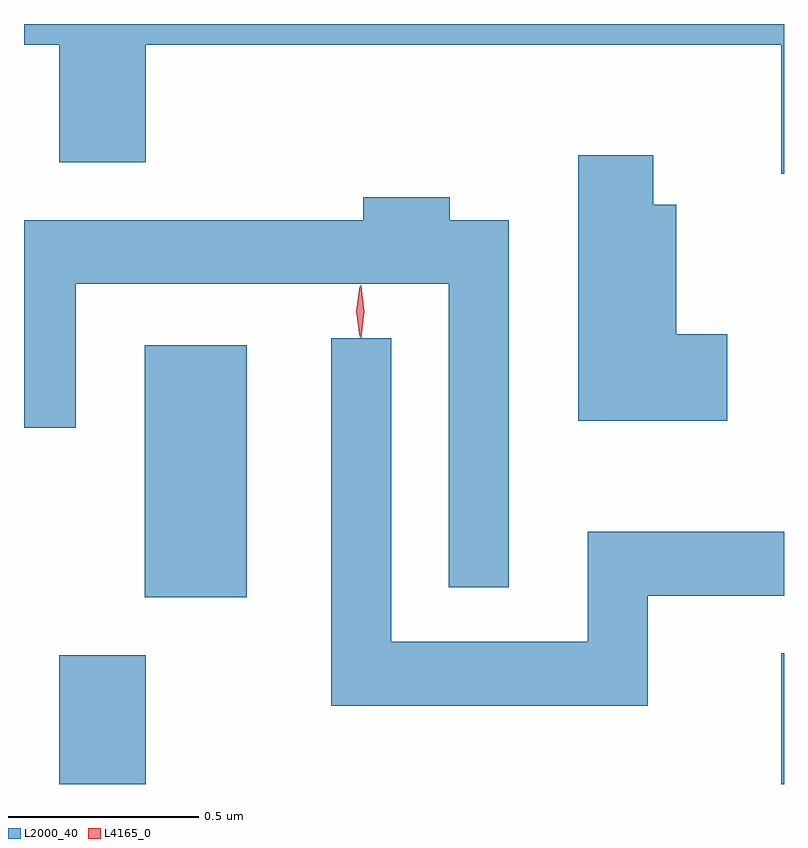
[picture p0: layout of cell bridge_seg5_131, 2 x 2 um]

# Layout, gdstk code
import gdstk
lib = gdstk.Library(unit=1e-6, precision=1e-09)
def R(c, l, rs):  # rectangles x0, y0, x1, y1
    for r in rs: c.add(gdstk.rectangle(r[:2], r[2:], *l))
def P(c, l, *ps):  # polygons
    for p in ps: c.add(gdstk.Polygon(p, *l))
L2000_40 = (2000, 40)
L4165_0 = (4165, 0)

bridge_seg5_131 = lib.new_cell('bridge_seg5_131')
R(bridge_seg5_131, L2000_40, [(1197.021,1421.55,1197.249,1421.889), (1198.921,1421.55,1198.928,1421.894), (1197.246,1422.041,1197.514,1422.704)])
P(bridge_seg5_131, L2000_40, [(1198.928,1423.55),(1196.928,1423.55),(1196.928,1423.496),(1197.021,1423.496),(1197.021,1423.186),(1197.249,1423.186),(1197.249,1423.496),(1198.921,1423.496),(1198.921,1423.156),(1198.928,1423.156)],
  [(1198.779,1422.734),(1198.644,1422.734),(1198.644,1423.074),(1198.584,1423.074),(1198.584,1423.204),(1198.386,1423.204),(1198.386,1422.506),(1198.779,1422.506)],
  [(1198.204,1423.034),(1198.049,1423.034),(1198.049,1423.094),(1197.821,1423.094),(1197.821,1423.034),(1196.928,1423.034),(1196.928,1422.488),(1197.064,1422.488),(1197.064,1422.866),(1198.046,1422.866),(1198.046,1422.068),(1198.204,1422.068)],
  [(1198.569,1422.046),(1198.928,1422.046),(1198.928,1422.214),(1198.411,1422.214),(1198.411,1421.924),(1197.894,1421.924),(1197.894,1422.723),(1197.736,1422.723),(1197.736,1421.756),(1198.569,1421.756)])
P(bridge_seg5_131, L4165_0, [(1197.814,1422.724),(1197.814,1422.724),(1197.804,1422.793),(1197.814,1422.862),(1197.814,1422.863),(1197.815,1422.862),(1197.824,1422.793),(1197.815,1422.724)],
  [(1197.811,1422.727),(1197.802,1422.794),(1197.811,1422.86),(1197.812,1422.86),(1197.812,1422.86),(1197.822,1422.794),(1197.812,1422.727),(1197.812,1422.727)])

lib.write_gds('bridge_seg5_131.gds')
